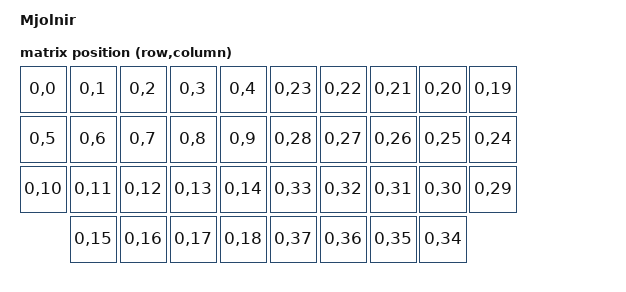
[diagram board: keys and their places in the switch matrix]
/dts-v1/;
#include <nordic/nrf52840_qiaa.dtsi>

#include <dt-bindings/zmk/matrix_transform.h>
#include <dt-bindings/led/led.h>

/ {
    model = "Mjolnir";
    compatible = "mjolnir";

    chosen {
		zephyr,code-partition = &code_partition;
		zephyr,sram = &sram0;
		zephyr,flash = &flash0;
		zmk,battery = &fuelgauge;
		zmk,kscan = &kscan0;
		zmk,matrix_transform = &default_transform;
        zmk,underglow = &led_strip;
		// zephyr,console = &cdc_acm_uart;
	};

    default_transform: keymap_transform_0 {
        compatible = "zmk,matrix-transform";
        columns = <38>;
        rows = <1>;
        map = <
        RC(0,0)  RC(0,1)  RC(0,2)  RC(0,3)  RC(0,4)    RC(0,23) RC(0,22) RC(0,21) RC(0,20) RC(0,19)
        RC(0,5)  RC(0,6)  RC(0,7)  RC(0,8)  RC(0,9)    RC(0,28) RC(0,27) RC(0,26) RC(0,25) RC(0,24)
        RC(0,10) RC(0,11) RC(0,12) RC(0,13) RC(0,14)   RC(0,33) RC(0,32) RC(0,31) RC(0,30) RC(0,29)
                 RC(0,15) RC(0,16) RC(0,17) RC(0,18)   RC(0,37) RC(0,36) RC(0,35) RC(0,34)
        >;
    };

    rgbpower: EXT_POWER {
        compatible = "zmk,ext-power-generic";
        init-delay-ms = <100>;
    };

    kscan0: kscan {
        compatible = "zmk,kscan-gpio-direct";
        wakeup-source;
    };

    statusled: leds {
        compatible = "gpio-leds";
    };

};

&gpio0 {
	status = "okay";
};

&gpio1 {
	status = "okay";
};

&usbd {
    status = "okay";
    // cdc_acm_uart: cdc_acm_uart {
    //     compatible = "zephyr,cdc-acm-uart";
    // }; 
};


&flash0 {
    /*
     * For more information, see:
     * http://docs.zephyrproject.org/latest/devices/dts/flash_partitions.html
     */
    partitions {
        compatible = "fixed-partitions";
        #address-cells = <1>;
        #size-cells = <1>;

        sd_partition: partition@0 {
            reg = <0x00000000 0x00026000>;
        };
        code_partition: partition@26000 {
            reg = <0x00026000 0x000c6000>;
        };

        /*
         * The flash starting at 0x000ec000 and ending at
         * 0x000f3fff is reserved for use by the application.
         */

        /*
         * Storage partition will be used by FCB/LittleFS/NVS
         * if enabled.
         */
        storage_partition: partition@ec000 {
            reg = <0x000ec000 0x00008000>;
        };

        boot_partition: partition@f4000 {
            reg = <0x000f4000 0x0000c000>;
        };
    };
};
